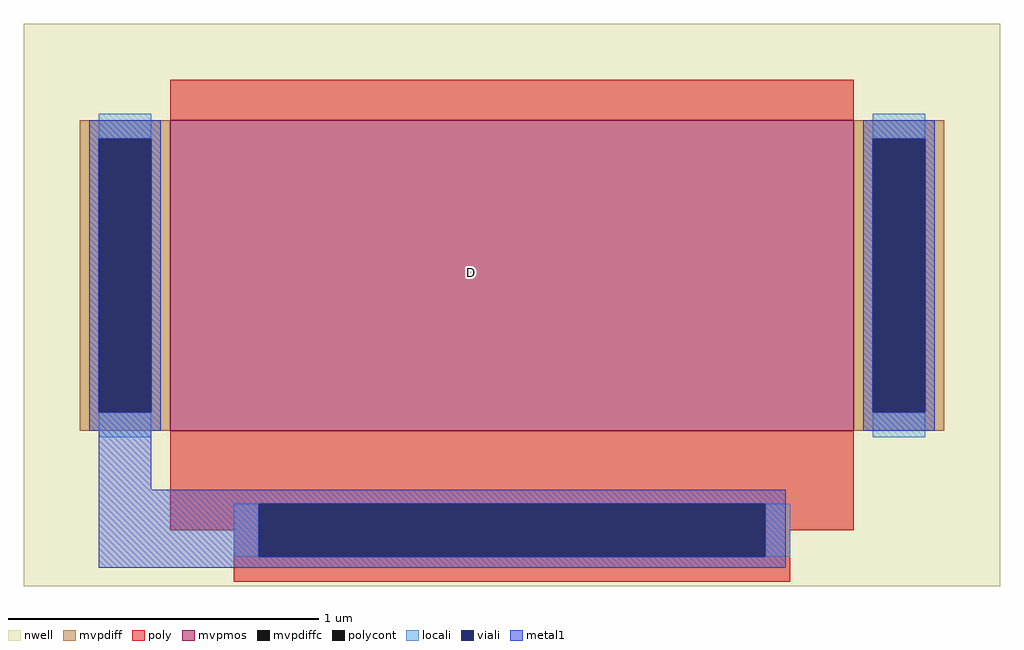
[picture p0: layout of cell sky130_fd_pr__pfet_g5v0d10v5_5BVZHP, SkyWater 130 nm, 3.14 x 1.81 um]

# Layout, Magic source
magic
tech sky130A
magscale 1 2
<< nwell >>
rect -314 -164 314 198
<< mvpmos >>
rect -220 -64 220 136
<< mvpdiff >>
rect -278 124 -220 136
rect -278 -52 -266 124
rect -232 -52 -220 124
rect -278 -64 -220 -52
rect 220 124 278 136
rect 220 -52 232 124
rect 266 -52 278 124
rect 220 -64 278 -52
<< mvpdiffc >>
rect -266 -52 -232 124
rect 232 -52 266 124
<< poly >>
rect -220 136 220 162
rect -220 -111 220 -64
rect -220 -128 -163 -111
rect -179 -145 -163 -128
rect 163 -128 220 -111
rect 163 -145 179 -128
rect -179 -161 179 -145
<< polycont >>
rect -163 -145 163 -111
<< locali >>
rect -266 124 -232 140
rect -266 -68 -232 -52
rect 232 124 266 140
rect 232 -68 266 -52
rect -179 -145 -163 -111
rect 163 -145 179 -111
<< viali >>
rect -266 -52 -232 124
rect 232 -52 266 124
rect -163 -145 163 -111
<< metal1 >>
rect -272 124 -226 136
rect -272 -52 -266 124
rect -232 -52 -226 124
rect -272 -64 -226 -52
rect 226 124 272 136
rect 226 -52 232 124
rect 266 -52 272 124
rect 226 -64 272 -52
rect -266 -102 -232 -64
rect -266 -111 176 -102
rect -266 -145 -163 -111
rect 163 -145 176 -111
rect -266 -152 176 -145
<< labels >>
flabel mvpmos -118 10 66 66 0 FreeSans 800 0 0 0 D
<< properties >>
string gencell sky130_fd_pr__pfet_g5v0d10v5
string library sky130
string parameters w 1 l 2.2 m 1 nf 1 diffcov 100 polycov 80 guard 0 glc 1 grc 1 gtc 1 gbc 1 tbcov 100 rlcov 100 topc 0 botc 1 poverlap 0 doverlap 1 lmin 0.50 wmin 0.42 class mosfet compatible {sky130_fd_pr__pfet_01v8  sky130_fd_pr__pfet_01v8_lvt sky130_fd_pr__pfet_01v8_hvt  sky130_fd_pr__pfet_g5v0d10v5} full_metal 1 viasrc 100 viadrn 100 viagate 80 viagb 0 viagr 0 viagl 0 viagt 0
<< end >>
